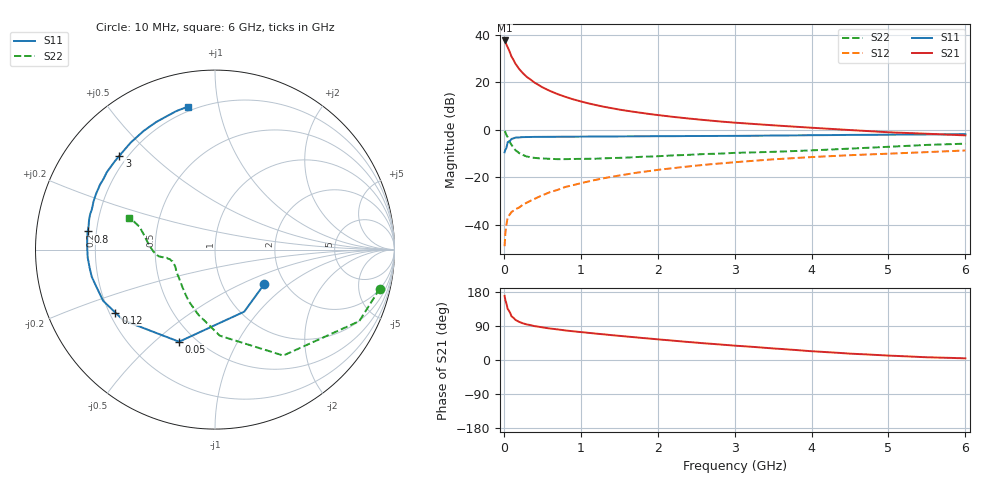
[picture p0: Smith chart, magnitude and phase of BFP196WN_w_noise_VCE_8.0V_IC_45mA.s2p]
! Infineon Technologies  Discrete & RF Semiconductors
! BFP196WN
! VCE =  8.0 V,  IC =  45 mA
! Common Emitter S-Parameters:  Jan 2017
# GHz  S  MA  R  50
!  f  S11  S21  S12  S22
! GHz  MAG  ANG  MAG  ANG  MAG  ANG  MAG  ANG
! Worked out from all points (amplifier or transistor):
!   77 points, 10 MHz to 6 GHz, reference 50 ohm
!   highest |S21| = 37.8 dB at 10 MHz (marker M1)
!   |S21| within 3 dB of that: start of sweep to 52.21 MHz
!   unconditionally stable (mu >= 1): 674.2 MHz to 2.626 GHz
!   at 130 MHz: K = 0.49, MSG = 31.6 dB, |S12| = -34.0 dB
!   at 2.2 GHz: K = 1.02, MAG = 9.9 dB, |S12| = -16.2 dB
!   at 6 GHz: K = 0.90, MSG = 3.2 dB, |S12| = -8.7 dB
!   lowest NFmin = 1.22 dB at 450 MHz
!   S11 on the Smith chart (normalised r, x): 10 MHz: 1.58, -0.68; 50 MHz: 0.41, -0.60; 120 MHz: 0.22, -0.28; 800 MHz: 0.17, +0.07; 3 GHz: 0.17, +0.40; 6 GHz: 0.18, +0.81
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0.01  0.3352 -34.8  77.22 169.1  0.0035 80.2  0.9434 -13.3
0.02  0.3823 -64.8  71.79 157.9  0.0067 73.2  0.8973 -26.4
0.05  0.5508 -111.3  55.68 134.5  0.014 55.4  0.7022 -57.2
0.1  0.6449 -142.3  35.17 115.2  0.0184 47.7  0.4804 -86.8
0.12  0.657 -147.7  31.05 112.2  0.0194 47.5  0.433 -92.8
0.15  0.6855 -155.4  25.09 106.0  0.021 47.2  0.3736 -104.5
0.2  0.6931 -162.9  19.22 100.5  0.023 49.6  0.3227 -116.9
0.25  0.7033 -167.6  15.56 96.6  0.0265 51.5  0.2933 -125.2
0.3  0.7055 -171.3  13.06 93.8  0.0291 55.1  0.273 -132.5
0.4  0.7105 -176.3  9.898 89.3  0.0349 59.0  0.2557 -141.7
0.5  0.7116 179.9  7.936 86.1  0.0416 62.1  0.2488 -148.4
0.6  0.7131 176.9  6.632 83.1  0.0484 64.0  0.2443 -153.1
0.7  0.7152 174.4  5.682 80.7  0.0542 65.7  0.2406 -156.4
0.8  0.7167 171.9  4.979 78.0  0.0623 66.9  0.241 -158.6
1.1  0.7217 165.9  3.628 71.7  0.0815 67.3  0.2449 -163.9
1.5  0.727 158.9  2.682 63.8  0.1087 66.4  0.2561 -168.0
2.1  0.7355 149.2  1.968 52.8  0.1492 63.3  0.2831 -171.0
3  0.7463 135.6  1.42 37.9  0.2071 56.8  0.3265 -174.8
3.1  0.7478 134.1  1.384 36.6  0.2133 56.0  0.3298 -175.5
4.1  0.7731 119.7  1.084 22.0  0.2713 47.7  0.3748 174.4
5.1  0.7921 109.0  0.876 10.8  0.319 40.3  0.4471 162.7
6  0.8102 100.9  0.765 4.4  0.3672 34.2  0.5109 159.7
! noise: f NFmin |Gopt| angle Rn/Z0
0.45  1.22  0.52  -178  0.05
0.9  1.34  0.55  -172  0.05
1.9  2.26  0.68  -148  0.14
2.4  2.99  0.69  -141  0.27
